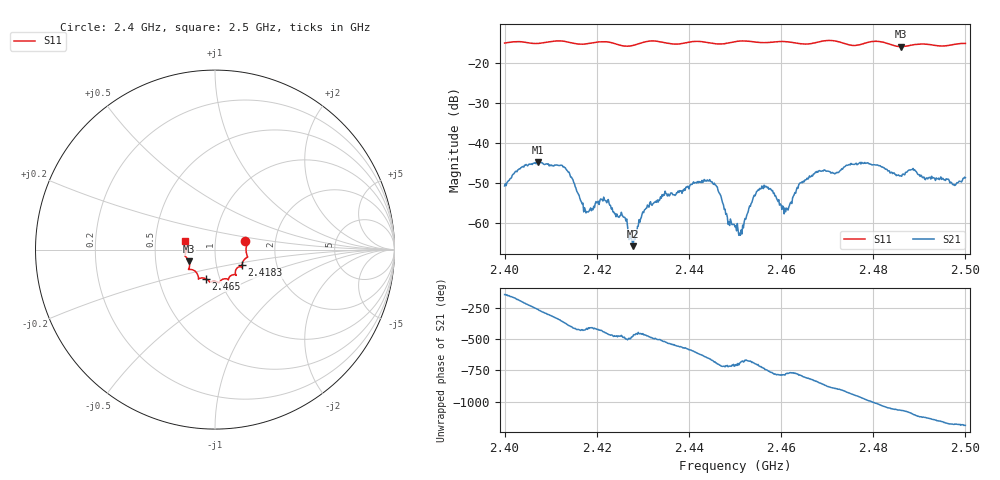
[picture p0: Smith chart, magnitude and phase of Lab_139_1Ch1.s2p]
# Hz S RI R 50
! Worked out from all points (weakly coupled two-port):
!   601 points, 2.4 GHz to 2.5 GHz, reference 50 ohm
!   highest |S21| = -44.82 dB at 2.4072 GHz (marker M1); lowest = -65.9 dB at 2.4278 GHz (marker M2)
!   lowest |S11| = -16.0 dB at 2.486 GHz (marker M3), VSWR 1.38, Z = 37.1 - j4.98 ohm
!   |S11| at or under -10 dB: start of sweep to end of sweep
!   S12 and S22 are empty: the file has one direction only
!   S11 on the Smith chart (normalised r, x): 2.4 GHz: 1.40, +0.13; 2.4183 GHz: 1.33, -0.24; 2.465 GHz: 0.86, -0.29; 2.5 GHz: 0.71, +0.07
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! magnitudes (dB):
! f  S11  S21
! 2.4 GHz  -15.1  -50.8
! 2.4072 GHz  -15.2  -44.8
! 2.4128 GHz  -14.7  -46.0
! 2.4167 GHz  -15.4  -54.8
! 2.4183 GHz  -15.2  -57.1
! 2.422 GHz  -14.8  -54.6
! 2.426 GHz  -15.9  -58.6
! 2.4278 GHz  -15.7  -65.9
! 2.4305 GHz  -14.8  -56.7
! 2.4333 GHz  -14.7  -54.9
! 2.4445 GHz  -15.1  -49.2
! 2.45 GHz  -14.8  -61.1
! 2.4513 GHz  -14.6  -61.8
! 2.4553 GHz  -15.0  -51.4
! 2.4577 GHz  -15.0  -51.5
! 2.4612 GHz  -14.8  -56.4
! 2.465 GHz  -15.4  -49.8
! 2.4667 GHz  -15.2  -48.2
! 2.4777 GHz  -15.4  -45.1
! 2.4833 GHz  -15.3  -47.1
! 2.486 GHz  -16.0  -48.3
! 2.5 GHz  -15.2  -48.8
